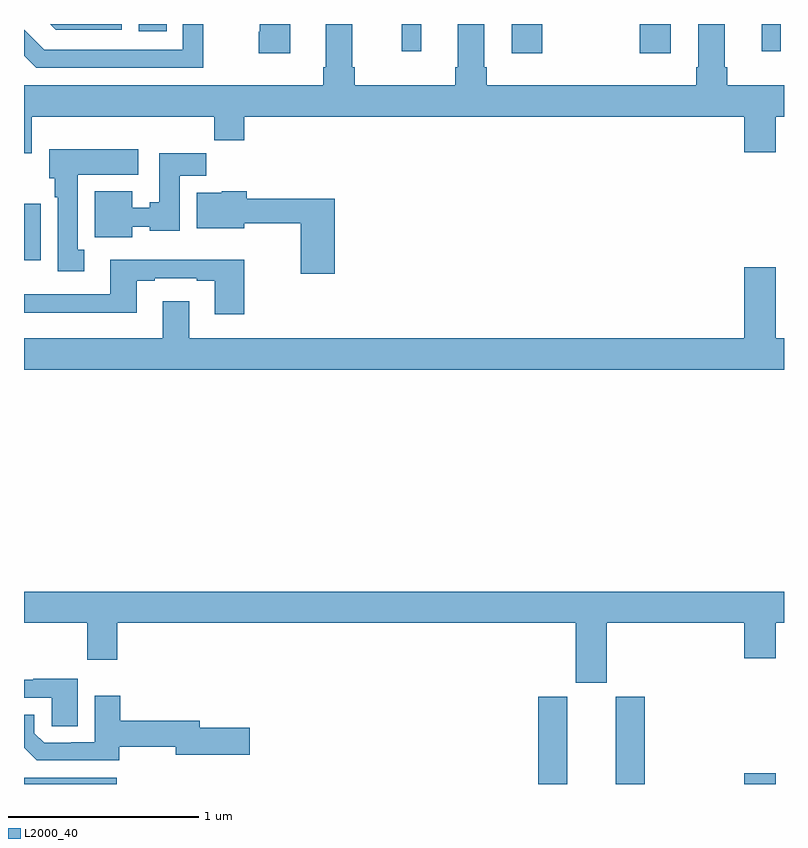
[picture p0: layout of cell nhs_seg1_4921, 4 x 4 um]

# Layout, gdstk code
import gdstk
lib = gdstk.Library(unit=1e-6, precision=1e-09)
def R(c, l, rs):  # rectangles x0, y0, x1, y1
    for r in rs: c.add(gdstk.rectangle(r[:2], r[2:], *l))
def P(c, l, *ps):  # polygons
    for p in ps: c.add(gdstk.Polygon(p, *l))
L2000_40 = (2000, 40)

nhs_seg1_4921 = lib.new_cell('nhs_seg1_4921')
R(nhs_seg1_4921, L2000_40, [(377,568.199,377.488,568.233), (379.706,568.199,379.858,568.659), (380.114,568.199,380.267,568.659), (380.792,568.199,380.956,568.255), (377,570.956,377.089,571.252), (379.568,572.046,379.727,572.199), (380.24,572.046,380.404,572.199), (378.988,572.055,379.091,572.199), (380.882,572.055,380.984,572.199), (377.604,572.16,377.75,572.199)])
P(nhs_seg1_4921, L2000_40, [(377.514,572.199),(377.138,572.199),(377.168,572.169),(377.514,572.169)],
  [(378.4,572.199),(378.242,572.199),(378.242,572.158),(378.235,572.158),(378.235,572.046),(378.4,572.046)],
  [(377.944,572.199),(377.835,572.199),(377.835,572.064),(377.106,572.064),(377,572.17),(377,572.032),(377.064,571.968),(377.944,571.968)],
  [(377.041,571.712),(378.001,571.712),(378.001,571.588),(378.158,571.588),(378.158,571.712),(380.792,571.712),(380.792,571.524),(380.956,571.524),(380.956,571.712),(381,571.712),(381,571.876),(380.702,571.876),(380.702,571.972),(380.689,571.972),(380.689,572.197),(380.549,572.197),(380.549,571.972),(380.537,571.972),(380.537,571.876),(379.436,571.876),(379.436,571.972),(379.423,571.972),(379.423,572.197),(379.283,572.197),(379.283,571.972),(379.271,571.972),(379.271,571.876),(378.74,571.876),(378.74,571.972),(378.727,571.972),(378.727,572.199),(378.587,572.199),(378.587,571.972),(378.575,571.972),(378.575,571.876),(377,571.876),(377,571.518),(377.041,571.518)],
  [(377.317,571.01),(377.284,571.01),(377.284,571.406),(377.602,571.406),(377.602,571.54),(377.132,571.54),(377.132,571.386),(377.162,571.386),(377.162,571.286),(377.177,571.286),(377.177,570.897),(377.317,570.897)],
  [(377.569,571.133),(377.661,571.133),(377.661,571.112),(377.821,571.112),(377.821,571.4),(377.96,571.4),(377.96,571.519),(377.711,571.519),(377.711,571.26),(377.661,571.26),(377.661,571.231),(377.569,571.231),(377.569,571.318),(377.372,571.318),(377.372,571.076),(377.569,571.076)],
  [(378.635,571.279),(378.173,571.279),(378.173,571.318),(378.042,571.318),(378.042,571.312),(377.909,571.312),(377.909,571.124),(378.16,571.124),(378.16,571.15),(378.457,571.15),(378.457,570.885),(378.635,570.885)],
  [(378.158,570.958),(377.453,570.958),(377.453,570.777),(377,570.777),(377,570.68),(377.593,570.68),(377.593,570.849),(377.689,570.849),(377.689,570.861),(377.909,570.861),(377.909,570.849),(378.005,570.849),(378.005,570.672),(378.158,570.672)],
  [(381,570.544),(380.956,570.544),(380.956,570.919),(380.792,570.919),(380.792,570.544),(377.869,570.544),(377.869,570.739),(377.729,570.739),(377.729,570.544),(377,570.544),(377,570.38),(381,570.38)],
  [(380.068,569.048),(380.792,569.048),(380.792,568.86),(380.956,568.86),(380.956,569.048),(381,569.048),(381,569.212),(377,569.212),(377,569.048),(377.332,569.048),(377.332,568.854),(377.492,568.854),(377.492,569.048),(379.904,569.048),(379.904,568.731),(380.068,568.731)],
  [(377.284,568.754),(377.048,568.754),(377.048,568.749),(377,568.749),(377,568.653),(377.145,568.653),(377.145,568.504),(377.284,568.504)],
  [(377.502,568.396),(377.798,568.396),(377.798,568.354),(378.187,568.354),(378.187,568.496),(377.926,568.496),(377.926,568.532),(377.507,568.532),(377.507,568.663),(377.372,568.663),(377.372,568.419),(377.248,568.419),(377.248,568.416),(377.106,568.416),(377.055,568.467),(377.055,568.564),(377,568.564),(377,568.389),(377.066,568.323),(377.502,568.323)])

lib.write_gds('nhs_seg1_4921.gds')
